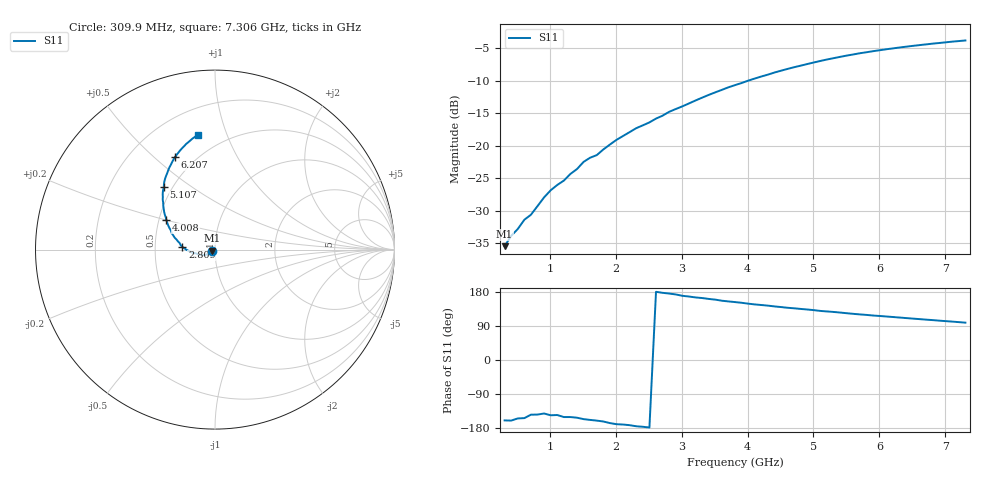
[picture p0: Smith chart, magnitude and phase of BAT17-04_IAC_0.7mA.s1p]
! Infineon Technologies  Discrete & RF Semiconductors
! BAT17-04
! IAC = 0.7 mA
! One-Port S-Parameters
# Hz  S  MA  R  50
!f  S11
!Hz  Mag  Ang
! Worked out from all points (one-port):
!   71 points, 309.9 MHz to 7.306 GHz, reference 50 ohm
!   lowest |S11| = -35.5 dB at 309.9 MHz (marker M1), VSWR 1.03, Z = 48.4 - j0.575 ohm
!   |S11| at or under -10 dB: start of sweep to 4.005 GHz
!   S11 on the Smith chart (normalised r, x): 309.9 MHz: 0.97, -0.01; 2.809 GHz: 0.69, +0.02; 4.008 GHz: 0.55, +0.20; 5.107 GHz: 0.45, +0.39; 6.207 GHz: 0.39, +0.58; 7.306 GHz: 0.36, +0.79
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3.0985e8  0.01688 -159.4
4.098e8  0.02026 -159.9
5.0975e8  0.02288 -154.2
6.097e8  0.02696 -153.4
7.0965e8  0.02946 -144.3
9.0955e8  0.04008 -141.2
1.0095e9  0.04544 -145.9
1.2094e9  0.05393 -150.6
1.30935e9  0.0607 -150.6
1.4093e9  0.06618 -152.3
1.50925e9  0.07514 -156.1
1.6092e9  0.08092 -158.1
1.70915e9  0.08468 -159.9
1.90905e9  0.1021 -166.5
2.10895e9  0.1189 -170.3
2.30885e9  0.1365 -174.9
2.50875e9  0.1512 -178.1
2.8086e9  0.1824 175.4
3.0085e9  0.2008 169.4
3.30835e9  0.2342 163.6
3.8081e9  0.2925 152.8
4.008e9  0.3166 148.7
4.70765e9  0.4019 136.4
5.10745e9  0.4492 129.4
5.6072e9  0.504 121.8
6.2069e9  0.5608 113.4
6.50675e9  0.5862 109.3
7.30635e9  0.6453 98.5
